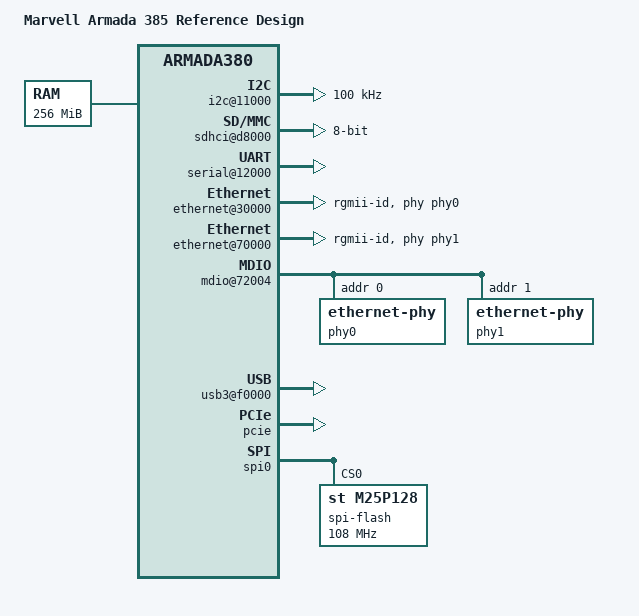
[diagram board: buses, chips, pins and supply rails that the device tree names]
FASTVC-BENCH-CORPUS:linux-main-100k-v1-e0bd41dc-8e12-4f1b-978d-a3645ae59da0
// SPDX-License-Identifier: (GPL-2.0+ OR MIT)
/*
 * Device Tree file for Marvell Armada 388 Reference Design board
 * (RD-88F6820-AP)
 *
 *  Copyright (C) 2014 Marvell
 *
 * Gregory CLEMENT <gregory.clement@free-electrons.com>
 * Thomas Petazzoni <thomas.petazzoni@free-electrons.com>
 */

/dts-v1/;
#include "armada-388.dtsi"

/ {
	model = "Marvell Armada 385 Reference Design";
	compatible = "marvell,a385-rd", "marvell,armada388",
		"marvell,armada385","marvell,armada380";

	chosen {
		stdout-path = "serial0:115200n8";
	};

	memory {
		device_type = "memory";
		reg = <0x00000000 0x10000000>; /* 256 MB */
	};

	soc {
		ranges = <MBUS_ID(0xf0, 0x01) 0 0xf1000000 0x100000
			  MBUS_ID(0x01, 0x1d) 0 0xfff00000 0x100000
			  MBUS_ID(0x09, 0x19) 0 0xf1100000 0x10000
			  MBUS_ID(0x09, 0x15) 0 0xf1110000 0x10000>;

		internal-regs {
			i2c@11000 {
				status = "okay";
				clock-frequency = <100000>;
			};

			sdhci@d8000 {
				pinctrl-names = "default";
				pinctrl-0 = <&sdhci_pins>;
				broken-cd;
				no-1-8-v;
				wp-inverted;
				bus-width = <8>;
				status = "okay";
			};

			serial@12000 {
				status = "okay";
			};

			ethernet@30000 {
				status = "okay";
				phy = <&phy0>;
				phy-mode = "rgmii-id";
			};

			ethernet@70000 {
				status = "okay";
				phy = <&phy1>;
				phy-mode = "rgmii-id";
			};


			mdio@72004 {
				phy0: ethernet-phy@0 {
					reg = <0>;
				};

				phy1: ethernet-phy@1 {
					reg = <1>;
				};
/* bench 8973.1.0 6b381fabaf0b */
/* bench 8973.1.1 efa9b6d1cd74 */
/* bench 8973.1.2 334eb33c5fed */
/* bench 8973.1.3 b6f07c878c64 */
/* bench 8973.1.4 63da6f7cb274 */
/* bench 8973.1.5 8f60034a9424 */
/* bench 8973.1.6 99b029f74398 */
/* bench 8973.1.7 8329073c2939 */
/* bench 8973.1.8 5aa919086ceb */
/* bench 8973.1.9 ffa7ddd959fb */
			};

			usb3@f0000 {
				status = "okay";
			};
		};

		pcie {
			status = "okay";
			/*
			 * One PCIe units is accessible through
			 * standard PCIe slot on the board.
			 */
			pcie@1,0 {
				/* Port 0, Lane 0 */
				status = "okay";
			};
		};
	};
};

&spi0 {
	status = "okay";

	spi-flash@0 {
		#address-cells = <1>;
		#size-cells = <1>;
		compatible = "st,m25p128", "jedec,spi-nor";
		reg = <0>; /* Chip select 0 */
		spi-max-frequency = <108000000>;
	};
};

